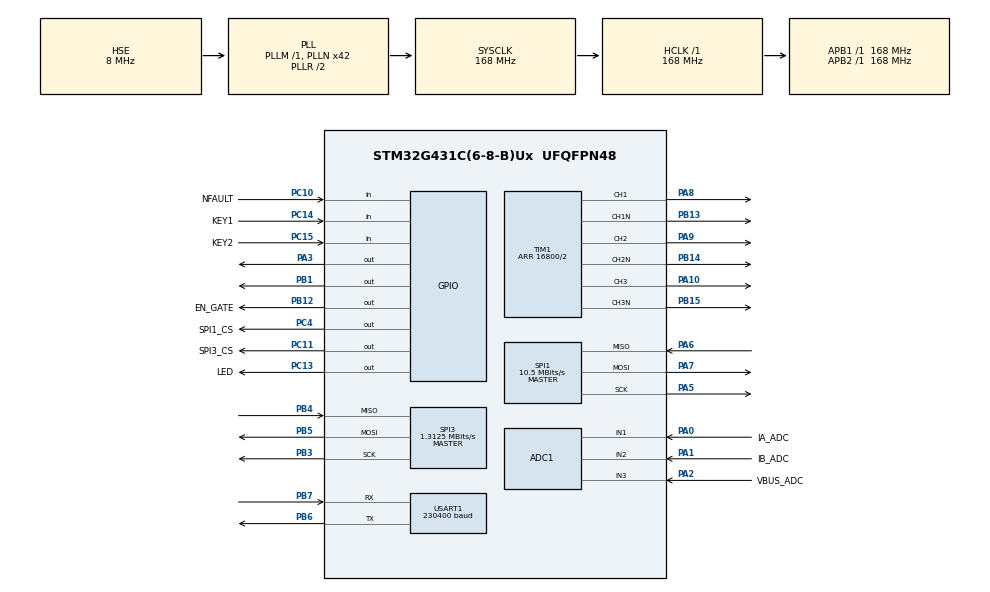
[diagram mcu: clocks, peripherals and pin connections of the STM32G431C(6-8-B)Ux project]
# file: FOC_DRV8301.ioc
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ADC1.ClockPrescaler=ADC_CLOCK_SYNC_PCLK_DIV4
ADC1.ContinuousConvMode=ENABLE
ADC1.DMAContinuousRequests=DISABLE
ADC1.EnableInjectedConversion=ENABLE
ADC1.EnableRegularConversion=DISABLE
ADC1.ExternalTrigInjecConv=ADC_EXTERNALTRIGINJEC_T1_CC4
ADC1.ExternalTrigInjecConvEdge=ADC_EXTERNALTRIGINJECCONV_EDGE_RISING
ADC1.InjNumberOfConversion=3
ADC1.InjectedChannel-1\#ChannelInjectedConversion=ADC_CHANNEL_1
ADC1.InjectedChannel-2\#ChannelInjectedConversion=ADC_CHANNEL_2
ADC1.InjectedChannel-3\#ChannelInjectedConversion=ADC_CHANNEL_3
ADC1.InjectedOffsetNumber-1\#ChannelInjectedConversion=ADC_OFFSET_NONE
ADC1.InjectedOffsetNumber-2\#ChannelInjectedConversion=ADC_OFFSET_NONE
ADC1.InjectedOffsetNumber-3\#ChannelInjectedConversion=ADC_OFFSET_NONE
ADC1.InjectedRank-1\#ChannelInjectedConversion=1
ADC1.InjectedRank-2\#ChannelInjectedConversion=2
ADC1.InjectedRank-3\#ChannelInjectedConversion=3
ADC1.InjectedSamplingTime-1\#ChannelInjectedConversion=ADC_SAMPLETIME_12CYCLES_5
ADC1.InjectedSamplingTime-2\#ChannelInjectedConversion=ADC_SAMPLETIME_12CYCLES_5
ADC1.InjectedSamplingTime-3\#ChannelInjectedConversion=ADC_SAMPLETIME_12CYCLES_5
ADC1.Rank1_Channel=ADC_CHANNEL_1
ADC1.Rank2_Channel=ADC_CHANNEL_2
ADC1.Rank3_Channel=ADC_CHANNEL_3
ADC1.Rank4_Channel=ADC_CHANNEL_1
ADC1.master=1
Dma.Request0=USART1_TX
Dma.Request1=USART1_RX
Dma.USART1_RX.1.Direction=DMA_PERIPH_TO_MEMORY
Dma.USART1_RX.1.EventEnable=DISABLE
Dma.USART1_RX.1.Instance=DMA1_Channel6
Dma.USART1_RX.1.MemDataAlignment=DMA_MDATAALIGN_BYTE
Dma.USART1_RX.1.MemInc=DMA_MINC_ENABLE
Dma.USART1_RX.1.Mode=DMA_NORMAL
Dma.USART1_RX.1.PeriphDataAlignment=DMA_PDATAALIGN_BYTE
Dma.USART1_RX.1.PeriphInc=DMA_PINC_DISABLE
Dma.USART1_RX.1.Polarity=HAL_DMAMUX_REQ_GEN_RISING
Dma.USART1_RX.1.Priority=DMA_PRIORITY_MEDIUM
Dma.USART1_RX.1.RequestNumber=1
Dma.USART1_RX.1.SignalID=NONE
Dma.USART1_RX.1.SyncEnable=DISABLE
Dma.USART1_RX.1.SyncPolarity=HAL_DMAMUX_SYNC_NO_EVENT
Dma.USART1_RX.1.SyncRequestNumber=1
Dma.USART1_RX.1.SyncSignalID=NONE
Dma.USART1_TX.0.Direction=DMA_MEMORY_TO_PERIPH
Dma.USART1_TX.0.EventEnable=DISABLE
Dma.USART1_TX.0.Instance=DMA1_Channel5
Dma.USART1_TX.0.MemDataAlignment=DMA_MDATAALIGN_BYTE
Dma.USART1_TX.0.MemInc=DMA_MINC_ENABLE
Dma.USART1_TX.0.Mode=DMA_NORMAL
Dma.USART1_TX.0.PeriphDataAlignment=DMA_PDATAALIGN_BYTE
Dma.USART1_TX.0.PeriphInc=DMA_PINC_DISABLE
Dma.USART1_TX.0.Polarity=HAL_DMAMUX_REQ_GEN_RISING
Dma.USART1_TX.0.Priority=DMA_PRIORITY_MEDIUM
Dma.USART1_TX.0.RequestNumber=1
Dma.USART1_TX.0.SignalID=NONE
Dma.USART1_TX.0.SyncEnable=DISABLE
Dma.USART1_TX.0.SyncPolarity=HAL_DMAMUX_SYNC_NO_EVENT
Dma.USART1_TX.0.SyncRequestNumber=1
Dma.USART1_TX.0.SyncSignalID=NONE
Mcu.Family=STM32G4
Mcu.Name=STM32G431C(6-8-B)Ux
Mcu.Package=UFQFPN48
NVIC.ADC1_2_IRQn=true\:0\:0\:true\:false\:true\:true\:true\:true
NVIC.DMA1_Channel5_IRQn=true\:0\:0\:false\:false\:true\:false\:true\:true
NVIC.DMA1_Channel6_IRQn=true\:0\:0\:false\:false\:true\:false\:true\:true
NVIC.PriorityGroup=NVIC_PRIORITYGROUP_4
NVIC.TIM1_CC_IRQn=true\:0\:0\:false\:false\:true\:true\:true\:true
NVIC.TIM6_DAC_IRQn=true\:15\:0\:false\:false\:true\:false\:true\:true
NVIC.TimeBase=TIM6_DAC_IRQn
NVIC.TimeBaseIP=TIM6
NVIC.USART1_IRQn=true\:1\:0\:true\:false\:true\:true\:true\:true
PA0.GPIO_Label=IA_ADC
PA0.Mode=IN1-Single-Ended
PA0.Signal=ADC1_IN1
PA1.GPIO_Label=IB_ADC
PA1.Mode=IN2-Single-Ended
PA1.Signal=ADC1_IN2
PA10.Signal=S_TIM1_CH3
PA13.Mode=Serial_Wire
PA13.Signal=SYS_JTMS-SWDIO
PA14.Mode=Serial_Wire
PA14.Signal=SYS_JTCK-SWCLK
PA2.GPIO_Label=VBUS_ADC
PA2.Mode=IN3-Single-Ended
PA2.Signal=ADC1_IN3
PA3.Signal=GPIO_Output
PA5.GPIO_Speed=GPIO_SPEED_FREQ_VERY_HIGH
PA5.Mode=Full_Duplex_Master
PA5.Signal=SPI1_SCK
PA6.GPIO_Speed=GPIO_SPEED_FREQ_VERY_HIGH
PA6.Mode=Full_Duplex_Master
PA6.Signal=SPI1_MISO
PA7.Mode=Full_Duplex_Master
PA7.Signal=SPI1_MOSI
PA8.Signal=S_TIM1_CH1
PA9.Signal=S_TIM1_CH2
PB1.Signal=GPIO_Output
PB12.GPIO_Label=EN_GATE
PB12.Signal=GPIO_Output
PB13.Mode=PWM Generation1 CH1 CH1N
PB13.Signal=TIM1_CH1N
PB14.Mode=PWM Generation2 CH2 CH2N
PB14.Signal=TIM1_CH2N
PB15.Mode=PWM Generation3 CH3 CH3N
PB15.Signal=TIM1_CH3N
PB3.Mode=Full_Duplex_Master
PB3.Signal=SPI3_SCK
PB4.Mode=Full_Duplex_Master
PB4.Signal=SPI3_MISO
PB5.Mode=Full_Duplex_Master
PB5.Signal=SPI3_MOSI
PB6.GPIO_Speed=GPIO_SPEED_FREQ_MEDIUM
PB6.Mode=Asynchronous
PB6.Signal=USART1_TX
PB7.GPIO_Speed=GPIO_SPEED_FREQ_MEDIUM
PB7.Mode=Asynchronous
PB7.Signal=USART1_RX
PC10.GPIO_Label=NFAULT
PC10.Signal=GPIO_Input
PC11.GPIO_Label=SPI3_CS
PC11.PinState=GPIO_PIN_SET
PC11.Signal=GPIO_Output
PC13.GPIO_Label=LED
PC13.GPIO_PuPd=GPIO_PULLUP
PC13.PinState=GPIO_PIN_RESET
PC13.Signal=GPIO_Output
PC14-OSC32_IN.GPIO_Label=KEY1
PC14-OSC32_IN.GPIO_PuPd=GPIO_PULLUP
PC14-OSC32_IN.Signal=GPIO_Input
PC15-OSC32_OUT.GPIO_Label=KEY2
PC15-OSC32_OUT.GPIO_PuPd=GPIO_PULLUP
PC15-OSC32_OUT.Signal=GPIO_Input
PC4.GPIO_Label=SPI1_CS
PC4.GPIO_Speed=GPIO_SPEED_FREQ_VERY_HIGH
PC4.PinState=GPIO_PIN_SET
PC4.Signal=GPIO_Output
PF0-OSC_IN.Mode=HSE-External-Oscillator
PF0-OSC_IN.Signal=RCC_OSC_IN
PF1-OSC_OUT.Mode=HSE-External-Oscillator
PF1-OSC_OUT.Signal=RCC_OSC_OUT
ProjectManager.HeapSize=0x200
ProjectManager.StackSize=0x400
ProjectManager.TargetToolchain=MDK-ARM V5.32
RCC.ADC12Freq_Value=168000000
RCC.AHBFreq_Value=168000000
RCC.APB1Freq_Value=168000000
RCC.APB1TimFreq_Value=168000000
RCC.APB2Freq_Value=168000000
RCC.APB2TimFreq_Value=168000000
RCC.CortexFreq_Value=168000000
RCC.EXTERNAL_CLOCK_VALUE=12288000
RCC.HCLKFreq_Value=168000000
RCC.HSE_VALUE=8000000
RCC.HSI48_VALUE=48000000
RCC.HSI_VALUE=16000000
RCC.LSE_VALUE=32768
RCC.PLLN=42
RCC.PLLSourceVirtual=RCC_PLLSOURCE_HSE
RCC.SYSCLKFreq_VALUE=168000000
RCC.SYSCLKSource=RCC_SYSCLKSOURCE_PLLCLK
RCC.USBFreq_Value=168000000
RCC.VCOOutputFreq_Value=336000000
SH.S_TIM1_CH1.0=TIM1_CH1,PWM Generation1 CH1 CH1N
SH.S_TIM1_CH2.0=TIM1_CH2,PWM Generation2 CH2 CH2N
SH.S_TIM1_CH3.0=TIM1_CH3,PWM Generation3 CH3 CH3N
SPI1.BaudRatePrescaler=SPI_BAUDRATEPRESCALER_16
SPI1.CLKPhase=SPI_PHASE_2EDGE
SPI1.CalculateBaudRate=10.5 MBits/s
SPI1.DataSize=SPI_DATASIZE_8BIT
SPI1.Direction=SPI_DIRECTION_2LINES
SPI1.Mode=SPI_MODE_MASTER
SPI1.VirtualType=VM_MASTER
SPI3.BaudRatePrescaler=SPI_BAUDRATEPRESCALER_128
SPI3.CLKPhase=SPI_PHASE_2EDGE
SPI3.CalculateBaudRate=1.3125 MBits/s
SPI3.DataSize=SPI_DATASIZE_16BIT
SPI3.Direction=SPI_DIRECTION_2LINES
SPI3.Mode=SPI_MODE_MASTER
SPI3.VirtualType=VM_MASTER
STMicroelectronics.X-CUBE-ALGOBUILD.1.4.0.LibraryCcDSPOoLibraryJjDSPOoLibrary=true
TIM1.AutoReloadPreload=TIM_AUTORELOAD_PRELOAD_ENABLE
TIM1.AutomaticOutput=TIM_AUTOMATICOUTPUT_ENABLE
TIM1.Channel-PWM\ Generation1\ CH1\ CH1N=TIM_CHANNEL_1
TIM1.Channel-PWM\ Generation2\ CH2\ CH2N=TIM_CHANNEL_2
TIM1.Channel-PWM\ Generation3\ CH3\ CH3N=TIM_CHANNEL_3
TIM1.Channel-PWM\ Generation4\ No\ Output=TIM_CHANNEL_4
TIM1.CounterMode=TIM_COUNTERMODE_CENTERALIGNED1
TIM1.DeadTime=40
TIM1.LockLevel=TIM_LOCKLEVEL_1
TIM1.OCMode_PWM-PWM\ Generation1\ CH1\ CH1N=TIM_OCMODE_PWM1
TIM1.OCMode_PWM-PWM\ Generation2\ CH2\ CH2N=TIM_OCMODE_PWM1
TIM1.OCMode_PWM-PWM\ Generation3\ CH3\ CH3N=TIM_OCMODE_PWM1
TIM1.OCMode_PWM-PWM\ Generation4\ No\ Output=TIM_OCMODE_PWM2
TIM1.OffStateIDLEMode=TIM_OSSI_ENABLE
TIM1.OffStateRunMode=TIM_OSSR_ENABLE
TIM1.PeriodNoDither=16800/2
TIM1.PulseNoDither_1=4200
TIM1.PulseNoDither_2=4200
TIM1.PulseNoDither_3=4200
TIM1.PulseNoDither_4=8320
TIM1.RepetitionCounter=1
TIM1.TIM_MasterOutputTrigger=TIM_TRGO_OC4REF
TIM1.TIM_MasterOutputTrigger2=TIM_TRGO2_RESET
TIM15.AutoReloadPreload=TIM_AUTORELOAD_PRELOAD_ENABLE
TIM15.PeriodNoDither=99
TIM15.Prescaler=167
TIM7.Prescaler=167
USART1.BaudRate=230400
USART1.VirtualMode-Asynchronous=VM_ASYNC
VP_STMicroelectronics.X-CUBE-ALGOBUILD_VS_DSPOoLibraryJjLibrary_1.4.0_1.4.0.Mode=DSPOoLibraryJjLibrary
VP_SYS_VS_DBSignals.Mode=DisableDeadBatterySignals
VP_SYS_VS_tim6.Mode=TIM6
VP_TIM15_VS_ClockSourceINT.Mode=Internal
VP_TIM1_VS_ClockSourceINT.Mode=Internal
VP_TIM1_VS_no_output4.Mode=PWM Generation4 No Output
VP_TIM7_VS_ClockSourceINT.Mode=Enable_Timer
board=custom

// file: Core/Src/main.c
/* USER CODE BEGIN Header */
/**
  ******************************************************************************
  * @file           : main.c
  * @brief          : Main program body
  ******************************************************************************
  * @attention
  *
  * Copyright (c) 2025 STMicroelectronics.
  * All rights reserved.
  *
  * This software is licensed under terms that can be found in the LICENSE file
  * in the root directory of this software component.
  * If no LICENSE file comes with this software, it is provided AS-IS.
  *
  ******************************************************************************
  */
/* USER CODE END Header */
#include "main.h"
#include "adc.h"
#include "dma.h"
#include "spi.h"
#include "tim.h"
#include "usart.h"
#include "gpio.h"

/* USER CODE BEGIN Includes */
#include "ALL_H.h"
#include "KEY.h"
#include "LED.h"
#include "MT6701.h"
#include "DRV8301.h"
#include "Start.h"
#include "Motor.h"
#include "FOC.h"
/* USER CODE END Includes */

/* USER CODE BEGIN PTD */
uint16_t angle_raw=0;
float angle=0;
uint8_t field_status=0;

uint16_t ADC1InjectDate[3];     //注入组采样数组
uint16_t ADC1RegularDate[3];    //规则组采样数组
AdcValue adcvalue;              //ADC采样变量
AllFlag allflag;                //标志位变量
SVPWM_Struct svpwm_str;         //SVPWM结构体
Encoder_Struct encoder_str;     //编码器结构体
PID pid_m1;                     //PID参数结构体
float angle_rad;
float Uq_set=0;

uint16_t status0;
/* USER CODE END PTD */

void SystemClock_Config(void);

int main(void)
{

  /* MCU Configuration--------------------------------------------------------*/

  /* Reset of all peripherals, Initializes the Flash interface and the Systick. */
  HAL_Init();

  /* Configure the system clock */
  SystemClock_Config();

  /* Initialize all configured peripherals */
  MX_GPIO_Init();
  MX_DMA_Init();
  MX_SPI1_Init();
  MX_USART1_UART_Init();
  MX_TIM15_Init();
  MX_SPI3_Init();
  MX_TIM1_Init();
  MX_ADC1_Init();
  MX_TIM7_Init();
  /* USER CODE BEGIN 2 */
    //按键初始化
	Key_Struct_Init();
	Key_EventCallback_Listen(&key1,HandleKeyEvent1);
	Key_EventCallback_Listen(&key2,HandleKeyEvent2);

//	DRV8301_ENGATE_OFF();
//	HAL_Delay_us(25); // 等待电源稳定
//	DRV8301_ENGATE_ON();
//	HAL_Delay_us(300);

	//中断初始化
	Enable_IT();

	while(allflag.Drv8301_flag!=1)
	{
		DRV8301_Init();
	}

  /* USER CODE END 2 */

  /* Infinite loop */
  while (1)
  {

    /* USER CODE BEGIN 3 */
//	  if(pid_m1.Uq>pid_m1.position_out_max)
//	  {
		status0 = DRV8301_ReadReg(0x00);
//	  }

//	encoder_str.Encoder = MT6701_ReadRaw();
	  //MT6701_Read_ALL(&angle_raw, &angle, &field_status);

//	  angle_rad+=0.01f;
//	  if(allflag.Adc_Adjust_flag==1 && allflag.Zero_flag==1)
//		  SetPhaseVoltage(1,0,ElectAngle_Turn(angle_rad,7));
//	  printf("%f,%f,%f,%f,%f \r\n",adcvalue.Ia,adcvalue.Ib,adcvalue.Ic,encoder_str.Return_Angle,pid_m1.Uq);
//	  printf("%f,%f,%f,%f \r\n",pid_m1.Uq,pid_m1.Ud,pid_m1.Iq_current,pid_m1.Id_current);
//	  printf("%f,%f,%f,%f \r\n",adcvalue.Ia,adcvalue.Ib,adcvalue.Udc,adcvalue.Ia_offect);
//	  printf("%d,%d,%d,%f,%f \r\n",encoder_str.Encoder_raw_sum,encoder_str.Encoder_raw_erro,encoder_str.Encoder_raw,pid_m1.Iq_current,pid_m1.Id_current);

//	  printf("%d,%f,%f,%f \r\n",encoder_str.Encoder_raw,encoder_str.Shaft_Angle,encoder_str.Elect_Angle,encoder_str.Zero_Angle);
//	  printf("angle=%.1f  iq_aim=%.2f  iq=%.2f  Uq=%.2f\r\n",
//       encoder_str.Elect_Angle, pid_m1.Iq_aim,
//       pid_m1.Iq_current, pid_m1.Uq);
//	  printf("%d,%f,%f,%f,%f \r\n",encoder_str.Encoder_raw,pid_m1.Speed_now,pid_m1.speed_out,pid_m1.Iq_current,pid_m1.Id_current);
//	  printf("%d,%f,%f,%f \r\n",encoder_str.Encoder_raw,encoder_str.Shaft_Angle,encoder_str.Elect_Angle,pid_m1.position_out);
//	  printf("%d,%d,%d \r\n",svpwm_str.PWMA,svpwm_str.PWMB,svpwm_str.PWMC);
//	  if(angle_rad>360)
//		  angle_rad-=360;
//	  else if(angle_rad<0)
//		  angle_rad+=360;

//	  printf("%d,%d,%d,%f,%f,%f \r\n",svpwm_str.PWMA,svpwm_str.PWMB,svpwm_str.PWMC,adcvalue.Ia,adcvalue.Ib,adcvalue.Ic);
//	  printf("%f,%f,%f,%f \r\n",encoder_str.Return_Angle,encoder_str.Elect_Angle,encoder_str.Shaft_Angle,encoder_str.Zero_Angle);
//	  HAL_Delay(100);

//	  if (cnt<10)
//	  {
//		  cnt++;
//		  uint16_t status0 = DRV8301_ReadReg(0x01);
//		  printf("%d\n",status0);
//		  if (status0 & 0x0001) // 检查FAULT位
//			printf("Fail"); // 初始化失败
//		  else
//			printf("Success");
//	  }

  }
  /* USER CODE END 3 */
}

void SystemClock_Config(void)
{
  RCC_OscInitTypeDef RCC_OscInitStruct = {0};
  RCC_ClkInitTypeDef RCC_ClkInitStruct = {0};

  /** Configure the main internal regulator output voltage
  */
  HAL_PWREx_ControlVoltageScaling(PWR_REGULATOR_VOLTAGE_SCALE1_BOOST);

  /** Initializes the RCC Oscillators according to the specified parameters
  * in the RCC_OscInitTypeDef structure.
  */
  RCC_OscInitStruct.OscillatorType = RCC_OSCILLATORTYPE_HSE;
  RCC_OscInitStruct.HSEState = RCC_HSE_ON;
  RCC_OscInitStruct.PLL.PLLState = RCC_PLL_ON;
  RCC_OscInitStruct.PLL.PLLSource = RCC_PLLSOURCE_HSE;
  RCC_OscInitStruct.PLL.PLLM = RCC_PLLM_DIV1;
  RCC_OscInitStruct.PLL.PLLN = 42;
  RCC_OscInitStruct.PLL.PLLP = RCC_PLLP_DIV2;
  RCC_OscInitStruct.PLL.PLLQ = RCC_PLLQ_DIV2;
  RCC_OscInitStruct.PLL.PLLR = RCC_PLLR_DIV2;
  if (HAL_RCC_OscConfig(&RCC_OscInitStruct) != HAL_OK)
  {
    Error_Handler();
  }

  /** Initializes the CPU, AHB and APB buses clocks
  */
  RCC_ClkInitStruct.ClockType = RCC_CLOCKTYPE_HCLK|RCC_CLOCKTYPE_SYSCLK
                              |RCC_CLOCKTYPE_PCLK1|RCC_CLOCKTYPE_PCLK2;
  RCC_ClkInitStruct.SYSCLKSource = RCC_SYSCLKSOURCE_PLLCLK;
  RCC_ClkInitStruct.AHBCLKDivider = RCC_SYSCLK_DIV1;
  RCC_ClkInitStruct.APB1CLKDivider = RCC_HCLK_DIV1;
  RCC_ClkInitStruct.APB2CLKDivider = RCC_HCLK_DIV1;

  if (HAL_RCC_ClockConfig(&RCC_ClkInitStruct, FLASH_LATENCY_4) != HAL_OK)
  {
    Error_Handler();
  }
}

void HAL_TIM_PeriodElapsedCallback(TIM_HandleTypeDef *htim)
{
  if (htim->Instance == TIM6) {
    HAL_IncTick();
  }
}

void Error_Handler(void)
{
  __disable_irq();
  while (1)
  {
  }
}
